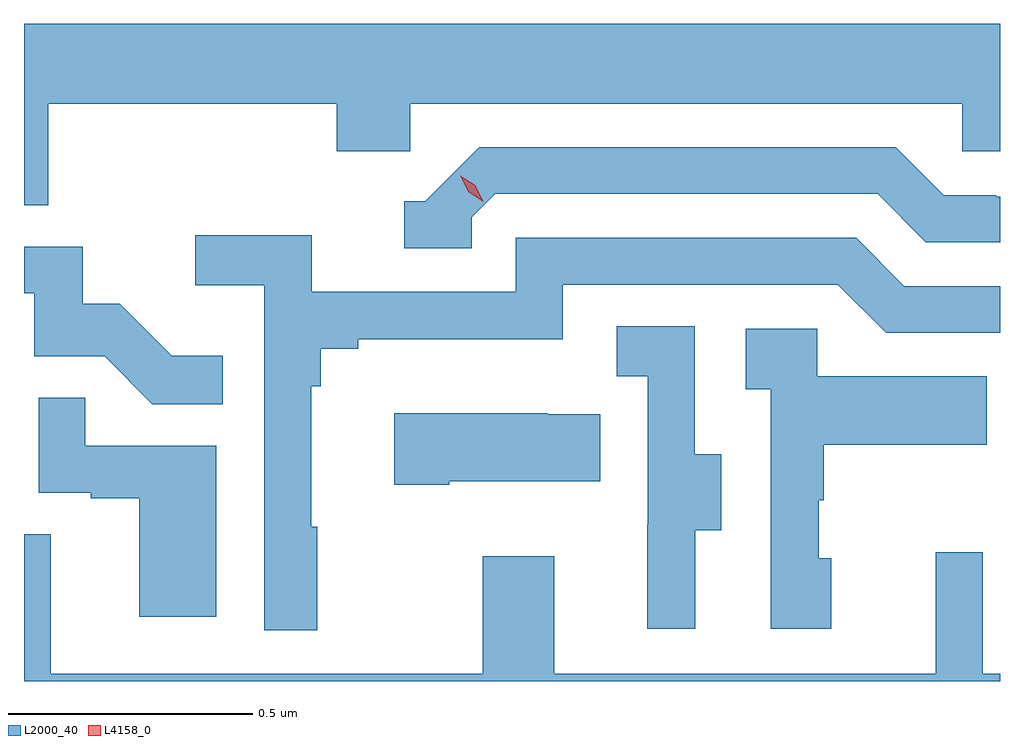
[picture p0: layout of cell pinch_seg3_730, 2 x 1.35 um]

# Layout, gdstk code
import gdstk
lib = gdstk.Library(unit=1e-6, precision=1e-09)
def P(c, l, *ps):  # polygons
    for p in ps: c.add(gdstk.Polygon(p, *l))
L2000_40 = (2000, 40)
L4158_0 = (4158, 0)

pinch_seg3_730 = lib.new_cell('pinch_seg3_730')
P(pinch_seg3_730, L2000_40, [(1114.652,684.932),(1115.243,684.932),(1115.243,684.834),(1115.394,684.834),(1115.394,684.932),(1116.525,684.932),(1116.525,684.834),(1116.602,684.834),(1116.602,685.096),(1114.602,685.096),(1114.602,684.724),(1114.652,684.724)],
  [(1115.52,684.699),(1115.568,684.747),(1116.351,684.747),(1116.45,684.648),(1116.602,684.648),(1116.602,684.741),(1116.594,684.741),(1116.594,684.744),(1116.487,684.744),(1116.388,684.843),(1115.535,684.843),(1115.424,684.732),(1115.381,684.732),(1115.381,684.636),(1115.52,684.636)],
  [(1115.203,684.065),(1115.191,684.065),(1115.191,684.353),(1115.21,684.353),(1115.21,684.43),(1115.287,684.43),(1115.287,684.449),(1115.706,684.449),(1115.706,684.561),(1116.27,684.561),(1116.369,684.462),(1116.602,684.462),(1116.602,684.558),(1116.406,684.558),(1116.307,684.657),(1115.61,684.657),(1115.61,684.546),(1115.192,684.546),(1115.192,684.662),(1114.953,684.662),(1114.953,684.56),(1115.094,684.56),(1115.094,683.853),(1115.203,683.853)],
  [(1115.009,684.415),(1114.905,684.415),(1114.798,684.522),(1114.722,684.522),(1114.722,684.639),(1114.602,684.639),(1114.602,684.543),(1114.623,684.543),(1114.623,684.414),(1114.767,684.414),(1114.865,684.316),(1115.009,684.316)],
  [(1115.977,684.058),(1116.031,684.058),(1116.031,684.213),(1115.976,684.213),(1115.976,684.476),(1115.817,684.476),(1115.817,684.373),(1115.88,684.373),(1115.88,684.069),(1115.879,684.069),(1115.879,683.856),(1115.977,683.856)],
  [(1116.256,684),(1116.231,684),(1116.231,684.119),(1116.241,684.119),(1116.241,684.233),(1116.575,684.233),(1116.575,684.373),(1116.228,684.373),(1116.228,684.471),(1116.081,684.471),(1116.081,684.347),(1116.132,684.347),(1116.132,683.856),(1116.256,683.856)],
  [(1114.996,684.231),(1114.727,684.231),(1114.727,684.329),(1114.632,684.329),(1114.632,684.135),(1114.739,684.135),(1114.739,684.123),(1114.838,684.123),(1114.838,683.88),(1114.996,683.88)],
  [(1115.473,684.158),(1115.783,684.158),(1115.783,684.295),(1115.675,684.295),(1115.675,684.298),(1115.361,684.298),(1115.361,684.151),(1115.473,684.151)],
  [(1116.602,683.764),(1116.567,683.764),(1116.567,684.013),(1116.47,684.013),(1116.47,683.764),(1115.689,683.764),(1115.689,684.004),(1115.542,684.004),(1115.542,683.764),(1114.657,683.764),(1114.657,684.05),(1114.602,684.05),(1114.602,683.748),(1116.602,683.748)])
P(pinch_seg3_730, L4158_0, [(1115.542,684.732),(1115.512,684.751),(1115.496,684.784),(1115.496,684.784),(1115.496,684.784),(1115.527,684.765),(1115.543,684.732),(1115.543,684.732)])

lib.write_gds('pinch_seg3_730.gds')
